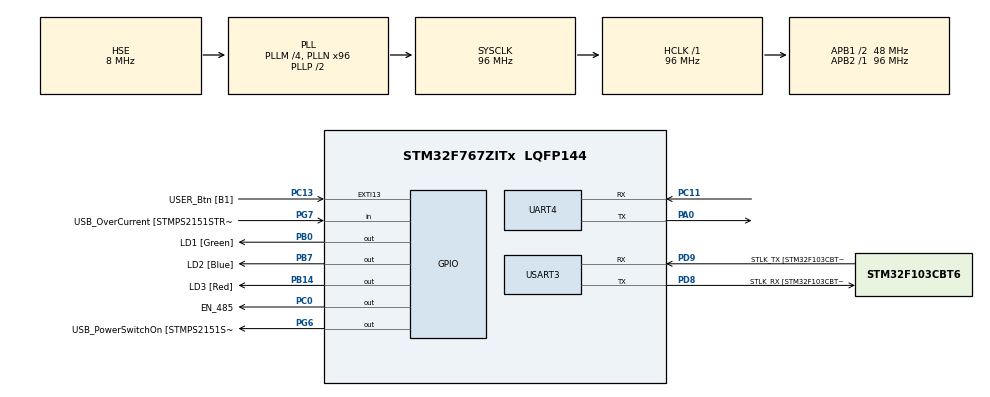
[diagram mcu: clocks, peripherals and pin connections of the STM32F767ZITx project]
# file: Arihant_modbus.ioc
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FREERTOS.Tasks01=defaultTask,24,128,StartDefaultTask,Default,NULL,Dynamic,NULL,NULL
FREERTOS.configUSE_NEWLIB_REENTRANT=1
Mcu.Family=STM32F7
Mcu.Name=STM32F767ZITx
Mcu.Package=LQFP144
NVIC.EXTI15_10_IRQn=true\:5\:0\:false\:false\:true\:true\:true\:true\:true
NVIC.PriorityGroup=NVIC_PRIORITYGROUP_4
NVIC.TIM2_IRQn=true\:15\:0\:false\:false\:true\:false\:false\:true\:true
NVIC.TimeBase=TIM2_IRQn
NVIC.TimeBaseIP=TIM2
NVIC.UART4_IRQn=true\:5\:0\:false\:false\:true\:true\:true\:true\:true
NVIC.USART3_IRQn=true\:5\:0\:false\:false\:true\:true\:true\:true\:true
PA0/WKUP.Mode=Asynchronous
PA0/WKUP.Signal=UART4_TX
PA1.GPIO_Label=RMII_REF_CLK [LAN8742A-CZ-TR_REFCLK0]
PA1.Signal=ETH_REF_CLK
PA10.GPIO_Label=USB_ID
PA10.Signal=USB_OTG_FS_ID
PA11.GPIO_Label=USB_DM
PA11.Signal=USB_OTG_FS_DM
PA12.GPIO_Label=USB_DP
PA12.Signal=USB_OTG_FS_DP
PA13.GPIO_Label=TMS
PA13.Mode=Trace_Synchro_1bit_SW
PA13.Signal=SYS_JTMS-SWDIO
PA14.GPIO_Label=TCK
PA14.Mode=Trace_Synchro_1bit_SW
PA14.Signal=SYS_JTCK-SWCLK
PA2.GPIO_Label=RMII_MDIO [LAN8742A-CZ-TR_MDIO]
PA2.Signal=ETH_MDIO
PA7.GPIO_Label=RMII_CRS_DV [LAN8742A-CZ-TR_CRS_DV]
PA7.Signal=ETH_CRS_DV
PA8.GPIO_Label=USB_SOF [TP1]
PA8.Signal=USB_OTG_FS_SOF
PA9.GPIO_Label=USB_VBUS
PA9.Signal=USB_OTG_FS_VBUS
PB0.GPIO_Label=LD1 [Green]
PB0.Signal=GPIO_Output
PB13.GPIO_Label=RMII_TXD1 [LAN8742A-CZ-TR_TXD1]
PB13.Signal=ETH_TXD1
PB14.GPIO_Label=LD3 [Red]
PB14.Signal=GPIO_Output
PB3.GPIO_Label=SWO
PB3.Signal=SYS_JTDO-SWO
PB7.GPIO_Label=LD2 [Blue]
PB7.Signal=GPIO_Output
PC0.GPIO_Label=EN_485
PC0.Signal=GPIO_Output
PC1.GPIO_Label=RMII_MDC [LAN8742A-CZ-TR_MDC]
PC1.Signal=ETH_MDC
PC11.Mode=Asynchronous
PC11.Signal=UART4_RX
PC13.GPIO_Label=USER_Btn [B1]
PC13.Signal=GPXTI13
PC14/OSC32_IN.Mode=LSE-External-Oscillator
PC14/OSC32_IN.Signal=RCC_OSC32_IN
PC15/OSC32_OUT.Mode=LSE-External-Oscillator
PC15/OSC32_OUT.Signal=RCC_OSC32_OUT
PC4.GPIO_Label=RMII_RXD0 [LAN8742A-CZ-TR_RXD0]
PC4.Signal=ETH_RXD0
PC5.GPIO_Label=RMII_RXD1 [LAN8742A-CZ-TR_RXD1]
PC5.Signal=ETH_RXD1
PD8.GPIO_Label=STLK_RX [STM32F103CBT6_PA3]
PD8.Mode=Asynchronous
PD8.Signal=USART3_TX
PD9.GPIO_Label=STLK_TX [STM32F103CBT6_PA2]
PD9.Mode=Asynchronous
PD9.Signal=USART3_RX
PE2.Mode=Trace_Synchro_1bit_SW
PE2.Signal=SYS_TRACECLK
PE3.Mode=Trace_Synchro_1bit_SW
PE3.Signal=SYS_TRACED0
PG11.GPIO_Label=RMII_TX_EN [LAN8742A-CZ-TR_TXEN]
PG11.Signal=ETH_TX_EN
PG13.GPIO_Label=RMII_TXD0 [LAN8742A-CZ-TR_TXD0]
PG13.Signal=ETH_TXD0
PG6.GPIO_Label=USB_PowerSwitchOn [STMPS2151STR_EN]
PG6.Signal=GPIO_Output
PG7.GPIO_Label=USB_OverCurrent [STMPS2151STR_FAULT]
PG7.Signal=GPIO_Input
PH0/OSC_IN.GPIO_Label=MCO [STM32F103CBT6_PA8]
PH0/OSC_IN.Mode=HSE-External-Clock-Source
PH0/OSC_IN.Signal=RCC_OSC_IN
PH1/OSC_OUT.Mode=HSE-External-Clock-Source
PH1/OSC_OUT.Signal=RCC_OSC_OUT
ProjectManager.HeapSize=0x200
ProjectManager.StackSize=0x400
ProjectManager.TargetToolchain=STM32CubeIDE
RCC.48MHZClocksFreq_Value=24000000
RCC.AHBFreq_Value=96000000
RCC.APB1CLKDivider=RCC_HCLK_DIV2
RCC.APB1Freq_Value=48000000
RCC.APB1TimFreq_Value=96000000
RCC.APB2Freq_Value=96000000
RCC.APB2TimFreq_Value=96000000
RCC.CortexFreq_Value=96000000
RCC.HCLKFreq_Value=96000000
RCC.HSE_VALUE=8000000
RCC.HSI_VALUE=16000000
RCC.PLLM=4
RCC.PLLMUL=RCC_PLL_MUL9
RCC.PLLN=96
RCC.PLLQ=4
RCC.PLLSourceVirtual=RCC_PLLSOURCE_HSE
RCC.PRESCALERUSB=RCC_USBCLKSOURCE_PLL_DIV1_5
RCC.SYSCLKFreq_VALUE=96000000
RCC.SYSCLKSource=RCC_SYSCLKSOURCE_PLLCLK
RCC.SYSCLKSourceVirtual=RCC_SYSCLKSOURCE_PLLCLK
RCC.USBFreq_Value=48000000
RCC.VCOOutputFreq_Value=192000000
UART4.Parity=PARITY_NONE
UART4.SwapParam=UART_ADVFEATURE_SWAP_DISABLE
USART3.VirtualMode-Asynchronous=VM_ASYNC
VP_FREERTOS_VS_CMSIS_V2.Mode=CMSIS_V2
VP_SYS_VS_tim2.Mode=TIM2
board=NUCLEO-F767ZI

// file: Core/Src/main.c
/* USER CODE BEGIN Header */
/**
  ******************************************************************************
  * @file           : main.c
  * @brief          : Main program body
  ******************************************************************************
  * @attention
  *
  * Copyright (c) 2023 STMicroelectronics.
  * All rights reserved.
  *
  * This software is licensed under terms that can be found in the LICENSE file
  * in the root directory of this software component.
  * If no LICENSE file comes with this software, it is provided AS-IS.
  *
  ******************************************************************************
  */
/* USER CODE END Header */
#include "main.h"
#include "cmsis_os.h"

/* USER CODE BEGIN Includes */
#include "Modbus.h"
/* USER CODE END Includes */

UART_HandleTypeDef huart4;
UART_HandleTypeDef huart3;

/* Definitions for defaultTask */
osThreadId_t defaultTaskHandle;
const osThreadAttr_t defaultTask_attributes = {
  .name = "defaultTask",
  .stack_size = 128 * 4,
  .priority = (osPriority_t) osPriorityNormal,
};
/* USER CODE BEGIN PV */

modbusHandler_t ModbusH;
uint16_t ModbusDATA[8];
modbusHandler_t ModbusH2;
uint16_t ModbusDATA2[8];

uint8_t rf_enable =  0; // 1 - Master : 0 - slave
uint8_t master_address = 0; // don't change it should be always 0
uint8_t slave_address = 10; // range 10 -255 unique number for every slave
/* USER CODE END PV */

void SystemClock_Config(void);
static void MX_GPIO_Init(void);
static void MX_USART3_UART_Init(void);
static void MX_UART4_Init(void);
void StartDefaultTask(void *argument);

/* USER CODE BEGIN PFP */

void master_slave_selction(uint8_t select);

void master_slave_selction(uint8_t select)
{
	  if(select)
	  {
			UART4->CR1 &= ~(USART_CR1_UE);
			UART4->CR2 |= USART_CR2_SWAP;
			UART4->CR1 |= USART_CR1_UE;

		  ModbusH.uiModbusType = MASTER_RTU;
		  ModbusH.port =  &huart4;
		  ModbusH.u8id = master_address; // Form master it must be 0
		  ModbusH.u16timeOut = 1000;
		  ModbusH.EN_Port = EN_485_GPIO_Port;
		  ModbusH.EN_Pin = EN_485_Pin;
		  ModbusH.u32overTime = 0;
		  ModbusH.au16regs = ModbusDATA;
		  ModbusH.u8regsize= sizeof(ModbusDATA)/sizeof(ModbusDATA[0]);
		  ModbusInit(&ModbusH);
		  ModbusStart(&ModbusH);

		  printf("master selected with ID : %d \r\n", master_address);
	  }

	  else
	  {

		   ModbusH2.uiModbusType = SLAVE_RTU;
		   ModbusH2.port =  &huart4;
		   ModbusH2.u8id = 10;
		   ModbusH2.u16timeOut = 1000;
		   ModbusH2.EN_Port = NULL;
		   ModbusH2.u32overTime = 0;
		   ModbusH2.au16regs = ModbusDATA2;
		   ModbusH2.u8regsize= sizeof(ModbusDATA2)/sizeof(ModbusDATA2[0]);
		   ModbusInit(&ModbusH2);
		   ModbusStart(&ModbusH2);

		   printf("slave selected with ID : %d \r\n", slave_address);
	  }

}
/* USER CODE END PFP */

/* USER CODE BEGIN 0 */
int _write(int file, char *ptr, int len)
{
	HAL_UART_Transmit(&huart3, (char*)ptr, len, HAL_MAX_DELAY);
	return len;
}
/* USER CODE END 0 */

int main(void)
{

  /* MCU Configuration--------------------------------------------------------*/

  /* Reset of all peripherals, Initializes the Flash interface and the Systick. */
  HAL_Init();

  /* Configure the system clock */
  SystemClock_Config();

  /* Initialize all configured peripherals */
  MX_GPIO_Init();
  MX_USART3_UART_Init();
  MX_UART4_Init();
  /* USER CODE BEGIN 2 */

  master_slave_selction(rf_enable );

  if(rf_enable)
  {
		uint8_t payload_size =10;

		uint8_t temp[10] ;
		temp[0] = 0x01;
		temp[1] = 0xFF;
		temp[2] = 0x02;
		temp[3] = 0xFF;
		temp[4] = 0x03;
		temp[5] = 0xFF;
		temp[6] = 0x04;
		temp[7] = 0xFF;
		temp[8] = 0x05;
		temp[9] = 0xFF;

		uint16_t *b = (uint16_t*)malloc(sizeof(uint8_t)*payload_size);
		memcpy(b,temp, sizeof(uint8_t)*payload_size);

		modbus_t data_query;
		data_query.u8id = 11; // select slave id where data need to send
		data_query.u8fct = MB_FC_WRITE_MULTIPLE_REGISTERS;
		data_query.u16RegAdd = 0x00; // 40005
		data_query.u16CoilsNo = 0x05;
		data_query.au16reg = b;
		ModbusQuery(&ModbusH,data_query);

  }

  /* USER CODE END 2 */

  /* Init scheduler */
  osKernelInitialize();

  /* Create the thread(s) */
  /* creation of defaultTask */
  defaultTaskHandle = osThreadNew(StartDefaultTask, NULL, &defaultTask_attributes);

  /* Start scheduler */
  osKernelStart();

  /* We should never get here as control is now taken by the scheduler */
  /* Infinite loop */
  while (1)
  {

  }
}

void SystemClock_Config(void)
{
  RCC_OscInitTypeDef RCC_OscInitStruct = {0};
  RCC_ClkInitTypeDef RCC_ClkInitStruct = {0};

  /** Configure LSE Drive Capability
  */
  HAL_PWR_EnableBkUpAccess();

  /** Configure the main internal regulator output voltage
  */
  __HAL_RCC_PWR_CLK_ENABLE();
  __HAL_PWR_VOLTAGESCALING_CONFIG(PWR_REGULATOR_VOLTAGE_SCALE3);

  /** Initializes the RCC Oscillators according to the specified parameters
  * in the RCC_OscInitTypeDef structure.
  */
  RCC_OscInitStruct.OscillatorType = RCC_OSCILLATORTYPE_HSE;
  RCC_OscInitStruct.HSEState = RCC_HSE_BYPASS;
  RCC_OscInitStruct.PLL.PLLState = RCC_PLL_ON;
  RCC_OscInitStruct.PLL.PLLSource = RCC_PLLSOURCE_HSE;
  RCC_OscInitStruct.PLL.PLLM = 4;
  RCC_OscInitStruct.PLL.PLLN = 96;
  RCC_OscInitStruct.PLL.PLLP = RCC_PLLP_DIV2;
  RCC_OscInitStruct.PLL.PLLQ = 4;
  RCC_OscInitStruct.PLL.PLLR = 2;
  if (HAL_RCC_OscConfig(&RCC_OscInitStruct) != HAL_OK)
  {
    Error_Handler();
  }

  /** Activate the Over-Drive mode
  */
  if (HAL_PWREx_EnableOverDrive() != HAL_OK)
  {
    Error_Handler();
  }

  /** Initializes the CPU, AHB and APB buses clocks
  */
  RCC_ClkInitStruct.ClockType = RCC_CLOCKTYPE_HCLK|RCC_CLOCKTYPE_SYSCLK
                              |RCC_CLOCKTYPE_PCLK1|RCC_CLOCKTYPE_PCLK2;
  RCC_ClkInitStruct.SYSCLKSource = RCC_SYSCLKSOURCE_PLLCLK;
  RCC_ClkInitStruct.AHBCLKDivider = RCC_SYSCLK_DIV1;
  RCC_ClkInitStruct.APB1CLKDivider = RCC_HCLK_DIV2;
  RCC_ClkInitStruct.APB2CLKDivider = RCC_HCLK_DIV1;

  if (HAL_RCC_ClockConfig(&RCC_ClkInitStruct, FLASH_LATENCY_3) != HAL_OK)
  {
    Error_Handler();
  }
}

static void MX_UART4_Init(void)
{

  huart4.Instance = UART4;
  huart4.Init.BaudRate = 115200;
  huart4.Init.WordLength = UART_WORDLENGTH_8B;
  huart4.Init.StopBits = UART_STOPBITS_1;
  huart4.Init.Parity = UART_PARITY_NONE;
  huart4.Init.Mode = UART_MODE_TX_RX;
  huart4.Init.HwFlowCtl = UART_HWCONTROL_NONE;
  huart4.Init.OverSampling = UART_OVERSAMPLING_16;
  huart4.Init.OneBitSampling = UART_ONE_BIT_SAMPLE_DISABLE;
  huart4.AdvancedInit.AdvFeatureInit = UART_ADVFEATURE_NO_INIT;
  if (HAL_UART_Init(&huart4) != HAL_OK)
  {
    Error_Handler();
  }

}

static void MX_USART3_UART_Init(void)
{

  huart3.Instance = USART3;
  huart3.Init.BaudRate = 115200;
  huart3.Init.WordLength = UART_WORDLENGTH_8B;
  huart3.Init.StopBits = UART_STOPBITS_1;
  huart3.Init.Parity = UART_PARITY_NONE;
  huart3.Init.Mode = UART_MODE_TX_RX;
  huart3.Init.HwFlowCtl = UART_HWCONTROL_NONE;
  huart3.Init.OverSampling = UART_OVERSAMPLING_16;
  huart3.Init.OneBitSampling = UART_ONE_BIT_SAMPLE_DISABLE;
  huart3.AdvancedInit.AdvFeatureInit = UART_ADVFEATURE_NO_INIT;
  if (HAL_UART_Init(&huart3) != HAL_OK)
  {
    Error_Handler();
  }

}

static void MX_GPIO_Init(void)
{
  GPIO_InitTypeDef GPIO_InitStruct = {0};

  /* GPIO Ports Clock Enable */
  __HAL_RCC_GPIOE_CLK_ENABLE();
  __HAL_RCC_GPIOC_CLK_ENABLE();
  __HAL_RCC_GPIOH_CLK_ENABLE();
  __HAL_RCC_GPIOA_CLK_ENABLE();
  __HAL_RCC_GPIOB_CLK_ENABLE();
  __HAL_RCC_GPIOD_CLK_ENABLE();
  __HAL_RCC_GPIOG_CLK_ENABLE();

  /*Configure GPIO pin Output Level */
  HAL_GPIO_WritePin(EN_485_GPIO_Port, EN_485_Pin, GPIO_PIN_RESET);

  /*Configure GPIO pin Output Level */
  HAL_GPIO_WritePin(GPIOB, LD1_Pin|LD3_Pin|LD2_Pin, GPIO_PIN_RESET);

  /*Configure GPIO pin Output Level */
  HAL_GPIO_WritePin(USB_PowerSwitchOn_GPIO_Port, USB_PowerSwitchOn_Pin, GPIO_PIN_RESET);

  /*Configure GPIO pin : USER_Btn_Pin */
  GPIO_InitStruct.Pin = USER_Btn_Pin;
  GPIO_InitStruct.Mode = GPIO_MODE_IT_RISING;
  GPIO_InitStruct.Pull = GPIO_NOPULL;
  HAL_GPIO_Init(USER_Btn_GPIO_Port, &GPIO_InitStruct);

  /*Configure GPIO pin : EN_485_Pin */
  GPIO_InitStruct.Pin = EN_485_Pin;
  GPIO_InitStruct.Mode = GPIO_MODE_OUTPUT_PP;
  GPIO_InitStruct.Pull = GPIO_NOPULL;
  GPIO_InitStruct.Speed = GPIO_SPEED_FREQ_LOW;
  HAL_GPIO_Init(EN_485_GPIO_Port, &GPIO_InitStruct);

  /*Configure GPIO pins : RMII_MDC_Pin RMII_RXD0_Pin RMII_RXD1_Pin */
  GPIO_InitStruct.Pin = RMII_MDC_Pin|RMII_RXD0_Pin|RMII_RXD1_Pin;
  GPIO_InitStruct.Mode = GPIO_MODE_AF_PP;
  GPIO_InitStruct.Pull = GPIO_NOPULL;
  GPIO_InitStruct.Speed = GPIO_SPEED_FREQ_VERY_HIGH;
  GPIO_InitStruct.Alternate = GPIO_AF11_ETH;
  HAL_GPIO_Init(GPIOC, &GPIO_InitStruct);

  /*Configure GPIO pins : RMII_REF_CLK_Pin RMII_MDIO_Pin RMII_CRS_DV_Pin */
  GPIO_InitStruct.Pin = RMII_REF_CLK_Pin|RMII_MDIO_Pin|RMII_CRS_DV_Pin;
  GPIO_InitStruct.Mode = GPIO_MODE_AF_PP;
  GPIO_InitStruct.Pull = GPIO_NOPULL;
  GPIO_InitStruct.Speed = GPIO_SPEED_FREQ_VERY_HIGH;
  GPIO_InitStruct.Alternate = GPIO_AF11_ETH;
  HAL_GPIO_Init(GPIOA, &GPIO_InitStruct);

  /*Configure GPIO pins : LD1_Pin LD3_Pin LD2_Pin */
  GPIO_InitStruct.Pin = LD1_Pin|LD3_Pin|LD2_Pin;
  GPIO_InitStruct.Mode = GPIO_MODE_OUTPUT_PP;
  GPIO_InitStruct.Pull = GPIO_NOPULL;
  GPIO_InitStruct.Speed = GPIO_SPEED_FREQ_LOW;
  HAL_GPIO_Init(GPIOB, &GPIO_InitStruct);

  /*Configure GPIO pin : RMII_TXD1_Pin */
  GPIO_InitStruct.Pin = RMII_TXD1_Pin;
  GPIO_InitStruct.Mode = GPIO_MODE_AF_PP;
  GPIO_InitStruct.Pull = GPIO_NOPULL;
  GPIO_InitStruct.Speed = GPIO_SPEED_FREQ_VERY_HIGH;
  GPIO_InitStruct.Alternate = GPIO_AF11_ETH;
  HAL_GPIO_Init(RMII_TXD1_GPIO_Port, &GPIO_InitStruct);

  /*Configure GPIO pin : USB_PowerSwitchOn_Pin */
  GPIO_InitStruct.Pin = USB_PowerSwitchOn_Pin;
  GPIO_InitStruct.Mode = GPIO_MODE_OUTPUT_PP;
  GPIO_InitStruct.Pull = GPIO_NOPULL;
  GPIO_InitStruct.Speed = GPIO_SPEED_FREQ_LOW;
  HAL_GPIO_Init(USB_PowerSwitchOn_GPIO_Port, &GPIO_InitStruct);

  /*Configure GPIO pin : USB_OverCurrent_Pin */
  GPIO_InitStruct.Pin = USB_OverCurrent_Pin;
  GPIO_InitStruct.Mode = GPIO_MODE_INPUT;
  GPIO_InitStruct.Pull = GPIO_NOPULL;
  HAL_GPIO_Init(USB_OverCurrent_GPIO_Port, &GPIO_InitStruct);

  /*Configure GPIO pins : USB_SOF_Pin USB_ID_Pin USB_DM_Pin USB_DP_Pin */
  GPIO_InitStruct.Pin = USB_SOF_Pin|USB_ID_Pin|USB_DM_Pin|USB_DP_Pin;
  GPIO_InitStruct.Mode = GPIO_MODE_AF_PP;
  GPIO_InitStruct.Pull = GPIO_NOPULL;
  GPIO_InitStruct.Speed = GPIO_SPEED_FREQ_VERY_HIGH;
  GPIO_InitStruct.Alternate = GPIO_AF10_OTG_FS;
  HAL_GPIO_Init(GPIOA, &GPIO_InitStruct);

  /*Configure GPIO pin : USB_VBUS_Pin */
  GPIO_InitStruct.Pin = USB_VBUS_Pin;
  GPIO_InitStruct.Mode = GPIO_MODE_INPUT;
  GPIO_InitStruct.Pull = GPIO_NOPULL;
  HAL_GPIO_Init(USB_VBUS_GPIO_Port, &GPIO_InitStruct);

  /*Configure GPIO pins : RMII_TX_EN_Pin RMII_TXD0_Pin */
  GPIO_InitStruct.Pin = RMII_TX_EN_Pin|RMII_TXD0_Pin;
  GPIO_InitStruct.Mode = GPIO_MODE_AF_PP;
  GPIO_InitStruct.Pull = GPIO_NOPULL;
  GPIO_InitStruct.Speed = GPIO_SPEED_FREQ_VERY_HIGH;
  GPIO_InitStruct.Alternate = GPIO_AF11_ETH;
  HAL_GPIO_Init(GPIOG, &GPIO_InitStruct);

  /* EXTI interrupt init*/
  HAL_NVIC_SetPriority(EXTI15_10_IRQn, 5, 0);
  HAL_NVIC_EnableIRQ(EXTI15_10_IRQn);

}

void StartDefaultTask(void *argument)
{
  for(;;)
  {
    osDelay(1);
  }
}

void HAL_TIM_PeriodElapsedCallback(TIM_HandleTypeDef *htim)
{
  if (htim->Instance == TIM2) {
    HAL_IncTick();
  }
}

void Error_Handler(void)
{
  __disable_irq();
  while (1)
  {
  }
}
